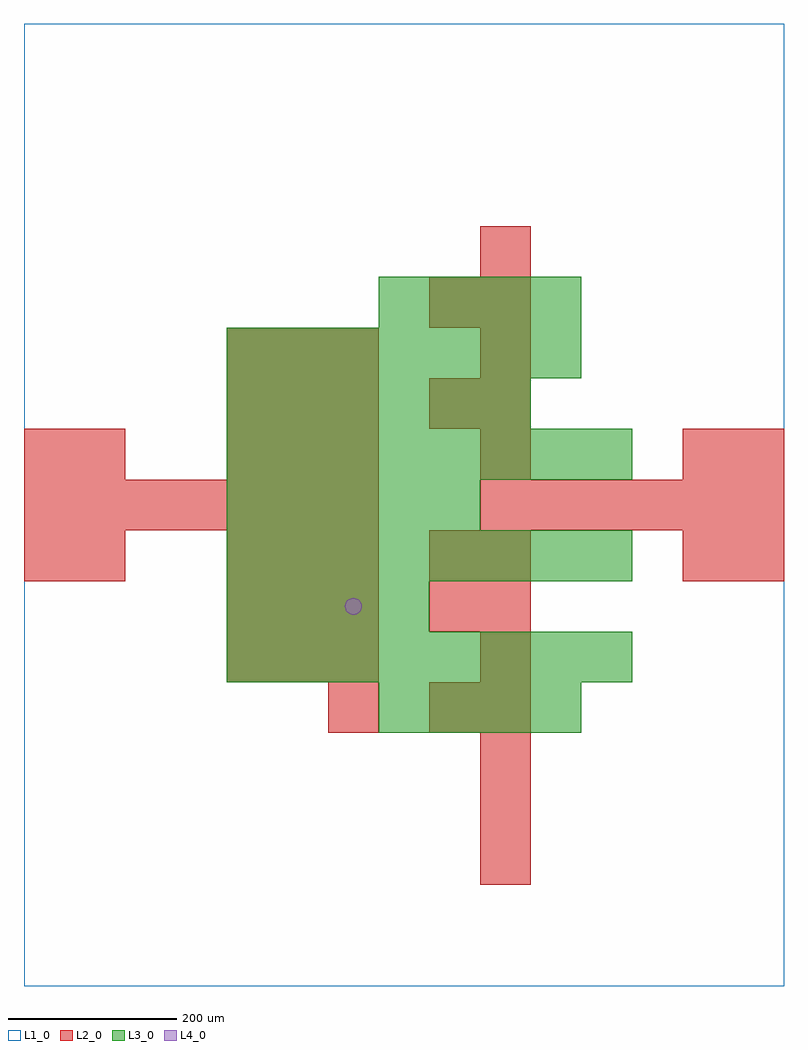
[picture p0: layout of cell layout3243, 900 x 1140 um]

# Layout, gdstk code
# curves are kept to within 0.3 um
import gdstk
lib = gdstk.Library(unit=1e-6, precision=1e-09)
def R(c, l, rs):  # rectangles x0, y0, x1, y1
    for r in rs: c.add(gdstk.rectangle(r[:2], r[2:], *l))
def A(c, l, x, y, w, h, nx, ny, dx, dy):  # array of equal rectangles
    R(c, l, [(x+i*dx, y+j*dy, x+i*dx+w, y+j*dy+h) for i in range(nx) for j in range(ny)])
def P(c, l, *ps):  # polygons
    for p in ps: c.add(gdstk.Polygon(p, *l))
L1_0 = (1, 0)
L2_0 = (2, 0)
L3_0 = (3, 0)
L4_0 = (4, 0)

layout3243 = lib.new_cell('layout3243')
R(layout3243, L1_0, [(0,0,900,1140)])
A(layout3243, L2_0, 540, 120, 60, 60, 1, 7, 0, 60)
A(layout3243, L2_0, 240, 360, 60, 60, 3, 3, 60, 60)
A(layout3243, L2_0, 0, 540, 60, 60, 7, 1, 60, 0)
A(layout3243, L2_0, 540, 540, 60, 60, 6, 1, 60, 0)
A(layout3243, L2_0, 240, 600, 60, 60, 3, 3, 60, 60)
A(layout3243, L2_0, 540, 600, 60, 60, 1, 5, 0, 60)
R(layout3243, L2_0, [(360,300,420,360), (480,300,540,360), (480,420,540,480), (0,480,60,540), (60,480,120,540), (480,480,540,540), (780,480,840,540), (840,480,900,540), (0,600,60,660), (60,600,120,660), (780,600,840,660), (840,600,900,660), (480,660,540,720), (480,780,540,840)])
A(layout3243, L3_0, 420, 300, 60, 60, 4, 2, 60, 480)
A(layout3243, L3_0, 240, 360, 60, 60, 8, 3, 60, 120)
A(layout3243, L3_0, 240, 420, 60, 60, 4, 1, 60, 0)
A(layout3243, L3_0, 240, 540, 60, 60, 5, 1, 60, 0)
A(layout3243, L3_0, 240, 660, 60, 60, 6, 1, 60, 0)
A(layout3243, L3_0, 240, 720, 60, 60, 7, 1, 60, 0)
P(layout3243, L4_0, [(400,450),(399.239,453.827),(397.071,457.071),(393.827,459.239),(390,460),(386.173,459.239),(382.929,457.071),(380.761,453.827),(380,450),(380.761,446.173),(382.929,442.929),(386.173,440.761),(390,440),(393.827,440.761),(397.071,442.929),(399.239,446.173)])

lib.write_gds('layout3243.gds')
